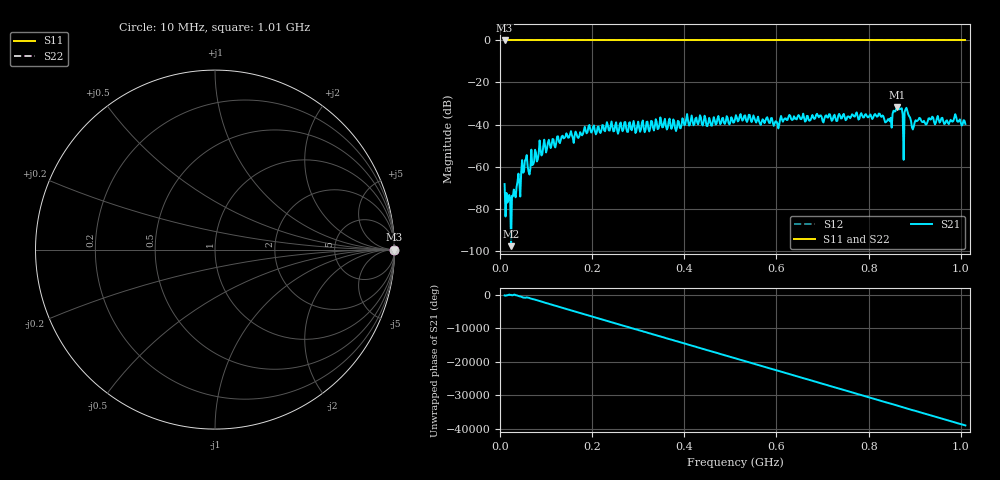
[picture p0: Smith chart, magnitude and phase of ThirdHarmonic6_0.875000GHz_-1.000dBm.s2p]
! 8/16/2025 4:51:53 AM
! C:\ANRITSUVNA\TEMP\TEMP.S2P
! CHANNEL.1
! TR.MEASUREMENT
! RAW.DATA
! RF.CORRECTION.OFF
! AVERAGING.OFF
! IF.BANDWIDTH: 5KHZ
! SWEEPTYPE:  FREQ.SWEEP(Linear)
! Reference Plane Port Info
! PORT:  PORT1  PORT2
! DISTANCE:  0  m  0  m
! TIME:  0  s  0  s
! PHASE.OFFSET:  0  deg.  0  deg.
! LOSS:  0  dB  0  dB
! REF.LOSS:  0  dB  0  dB
! REF.FREQ:  0  Hz  0  Hz
! Power Info
! POWER:  -20  dBm  -20  dBm
! EFF.POWER:  -20  dBm  -20  dBm
! SOURCE.ATTEN:  0  dB  0  dB
! TEST.ATTEN:  0  dB  0  dB
# GHZ S RI R 50.0
! FREQ.GHZ  S11RE  S11IM  S21RE  S21IM  S12RE  S12IM  S22RE  S22IM
!; PortSelection: Port_12
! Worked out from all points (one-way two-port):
!   501 points, 10 MHz to 1.01 GHz, reference 50 ohm
!   highest |S21| = -31.66 dB at 862 MHz (marker M1); lowest = -97.9 dB at 24 MHz (marker M2)
!   lowest |S11| = 0.0 dB at 10 MHz (marker M3)
!   |S11| at or under -10 dB: nowhere
!   |S22| runs from 0.0 to 0.0 dB; largest |S21 - S12| = 1
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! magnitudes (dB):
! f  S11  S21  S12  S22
! 10 MHz  0.0  -68.3  0.0  0.0
! 16 MHz  0.0  -77.2  0.0  0.0
! 24 MHz  0.0  -97.9  0.0  0.0
! 56 MHz  0.0  -56.4  0.0  0.0
! 66 MHz  0.0  -60.9  0.0  0.0
! 110 MHz  0.0  -51.2  0.0  0.0
! 178 MHz  0.0  -45.2  0.0  0.0
! 344 MHz  0.0  -41.9  0.0  0.0
! 510 MHz  0.0  -37.5  0.0  0.0
! 602 MHz  0.0  -39.5  0.0  0.0
! 678 MHz  0.0  -35.5  0.0  0.0
! 844 MHz  0.0  -37.5  0.0  0.0
! 862 MHz  0.0  -31.7  0.0  0.0
! 870 MHz  0.0  -32.4  0.0  0.0
! 872 MHz  0.0  -32.3  0.0  0.0
! 874 MHz  0.0  -35.5  0.0  0.0
! 880 MHz  0.0  -32.8  0.0  0.0
! 882 MHz  0.0  -32.1  0.0  0.0
! 884 MHz  0.0  -33.5  0.0  0.0
! 896 MHz  0.0  -42.3  0.0  0.0
! 936 MHz  0.0  -37.4  0.0  0.0
! 1.01 GHz  0.0  -39.7  0.0  0.0
